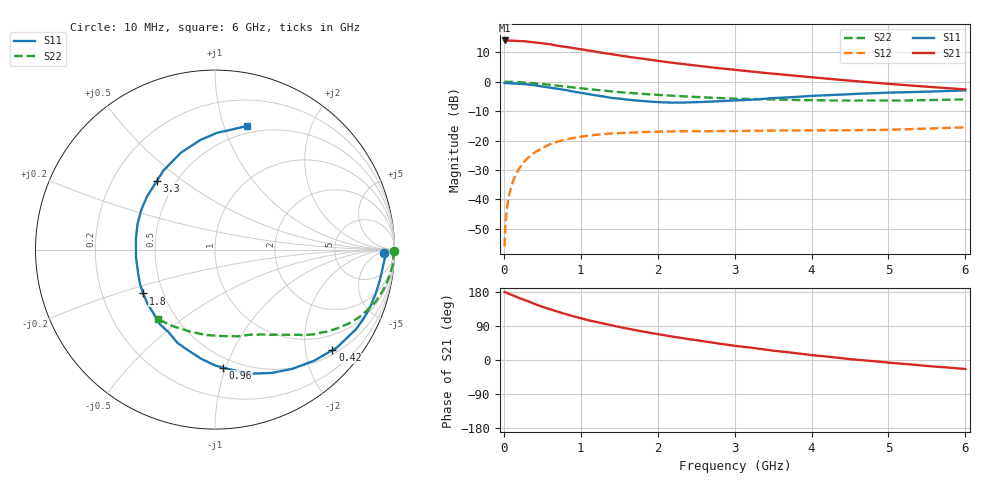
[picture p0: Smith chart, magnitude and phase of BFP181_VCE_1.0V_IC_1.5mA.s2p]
! Infineon Technologies  Discrete & RF Semiconductors
! BFP181
! VCE = 1.0 V,  IC =  1.5 mA
! Common Emitter S-Parameters:  Jan 2016
# GHz  S  MA  R  50
!  f  S11  S21  S12  S22
! GHz  MAG  ANG  MAG  ANG  MAG  ANG  MAG  ANG
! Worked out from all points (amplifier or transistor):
!   210 points, 10 MHz to 6 GHz, reference 50 ohm
!   highest |S21| = 14.0 dB at 10 MHz (marker M1)
!   |S21| within 3 dB of that: start of sweep to 992.6 MHz
!   unconditionally stable (mu >= 1): 2.524 GHz to end of sweep
!   at 185 MHz: K = 0.09, MSG = 22.0 dB, |S12| = -30.2 dB
!   at 1.52 GHz: K = 0.65, MSG = 13.2 dB, |S12| = -17.5 dB
!   at 6 GHz: K = 1.26, MAG = 3.4 dB, |S12| = -15.5 dB
!   S11 on the Smith chart (normalised r, x): 10 MHz: 31, -10; 420 MHz: 0.60, -2.58; 960 MHz: 0.42, -0.98; 1.8 GHz: 0.39, -0.24; 3.3 GHz: 0.39, +0.40; 6 GHz: 0.43, +1.20
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0.01  0.9436 -1.1  5.015 179.5  0.0016 85.8  0.9973 -0.4
0.02  0.9497 -2.1  5.001 179.0  0.0036 85.3  0.9958 -1.0
0.04  0.9452 -3.8  5.004 177.0  0.007 88.8  0.995 -1.9
0.065  0.94 -6.3  4.995 174.8  0.0112 86.0  0.9944 -3.1
0.11  0.9334 -11.1  4.964 171.1  0.0187 81.3  0.9927 -5.2
0.22  0.9187 -21.8  4.908 162.0  0.0364 76.1  0.9772 -10.3
0.3  0.9022 -29.4  4.816 156.3  0.0487 71.3  0.9625 -13.8
0.42  0.8611 -40.6  4.626 146.4  0.0649 64.6  0.935 -18.7
0.6  0.792 -57.0  4.33 133.7  0.0863 55.3  0.8839 -25.5
0.8  0.7215 -73.3  3.921 121.3  0.1035 46.7  0.8253 -31.4
0.96  0.6584 -86.2  3.61 112.4  0.1139 40.8  0.7816 -35.4
1.02  0.6391 -91.1  3.506 109.2  0.1173 38.9  0.7662 -36.7
1.2  0.5825 -104.5  3.215 100.4  0.1255 33.2  0.7242 -40.7
1.42  0.5259 -120.4  2.894 90.5  0.1319 27.8  0.6796 -44.5
1.8  0.4691 -148.6  2.459 75.3  0.1389 21.5  0.6208 -49.8
2.02  0.4479 -163.0  2.241 67.6  0.1413 18.2  0.5942 -52.8
2.42  0.4445 171.9  1.933 54.6  0.1436 13.4  0.556 -58.6
3.1  0.4849 138.1  1.542 35.2  0.1454 8.4  0.5106 -68.6
3.3  0.501 130.3  1.448 30.2  0.1466 7.5  0.5039 -72.0
4.1  0.5798 106.7  1.156 11.0  0.1487 4.5  0.4812 -87.2
5.1  0.6551 87.5  0.897 -8.5  0.1532 2.9  0.4776 -109.3
6  0.711 75.6  0.738 -23.8  0.1677 2.1  0.5013 -129.4
